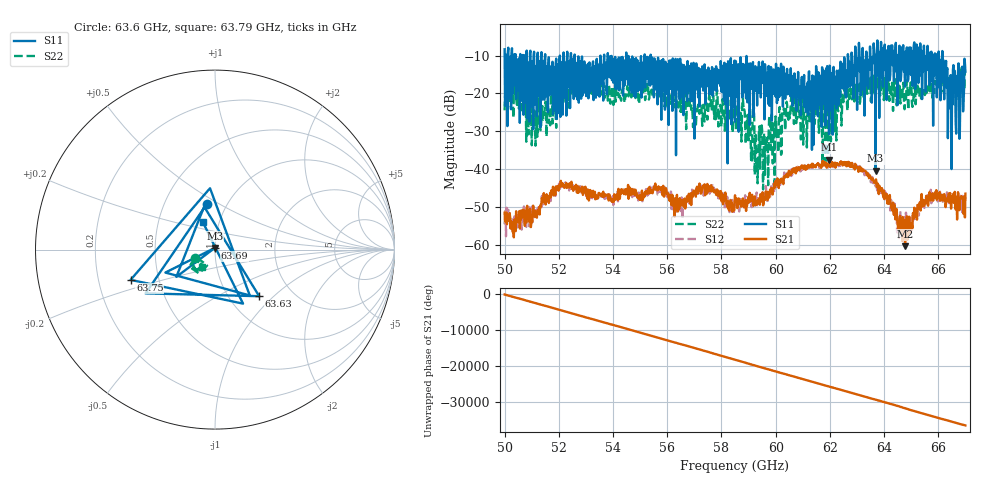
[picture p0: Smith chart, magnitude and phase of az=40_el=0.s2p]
!Created with skrf (http://scikit-rf.org).
# GHz S RI R 50.0
!freq ReS11 ImS11 ReS21 ImS21 ReS12 ImS12 ReS22 ImS22
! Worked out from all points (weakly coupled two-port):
!   1001 points, 50 GHz to 67 GHz, reference 50 ohm
!   highest |S21| = -37.48 dB at 61.97 GHz (marker M1); lowest = -60.3 dB at 64.77 GHz (marker M2)
!   lowest |S11| = -40.4 dB at 63.69 GHz (marker M3), VSWR 1.02, Z = 49.9 + j0.956 ohm
!   |S11| at or under -10 dB: 52.58 GHz to 53.67 GHz (1.086 GHz wide, 2.04 % of centre); 55.39 GHz to 62.66 GHz (7.274 GHz wide, 12.3 % of centre); 66.16 GHz to end of sweep (the widest 3 of 60)
!   |S22| runs from -45.3 to -13.2 dB; largest |S21 - S12| = 0.0024
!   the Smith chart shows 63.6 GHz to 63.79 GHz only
!   S11 on the Smith chart (normalised r, x): 63.6 GHz: 0.81, +0.44; 63.63 GHz: 1.37, -0.82; 63.69 GHz: 1.00, +0.02; 63.75 GHz: 0.34, -0.15; 63.79 GHz: 0.83, +0.27
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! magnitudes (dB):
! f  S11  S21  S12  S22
! 50 GHz  -8.4  -51.4  -54.5  -24.4
! 50.42 GHz  -21.4  -51.0  -51.8  -20.9
! 51.14 GHz  -13.7  -51.0  -50.4  -33.8
! 52.09 GHz  -11.8  -44.0  -44.2  -20.6
! 52.84 GHz  -12.4  -46.0  -46.1  -20.0
! 55.68 GHz  -13.4  -44.5  -45.0  -21.0
! 58.5 GHz  -27.4  -46.9  -48.3  -23.9
! 59.11 GHz  -12.9  -48.2  -50.0  -34.3
! 59.3 GHz  -14.8  -48.6  -46.1  -38.1
! 60.64 GHz  -15.4  -40.1  -39.7  -23.1
! 61.34 GHz  -34.9  -38.5  -39.7  -27.0
! 61.97 GHz  -30.7  -37.5  -38.6  -22.7
! 63.6 GHz  -11.8  -42.7  -43.6  -18.2
! 63.63 GHz  -8.9  -43.5  -43.5  -15.9
! 63.69 GHz  -40.4  -43.5  -44.5  -16.3
! 63.75 GHz  -6.0  -44.2  -45.6  -15.8
! 63.79 GHz  -15.4  -45.1  -44.7  -18.3
! 64.18 GHz  -12.1  -49.0  -48.5  -17.8
! 64.77 GHz  -18.2  -60.3  -52.6  -21.1
! 66.1 GHz  -13.2  -47.2  -48.1  -18.5
! 66.44 GHz  -23.8  -46.2  -48.5  -16.2
! 67 GHz  -14.3  -46.4  -47.3  -14.3
